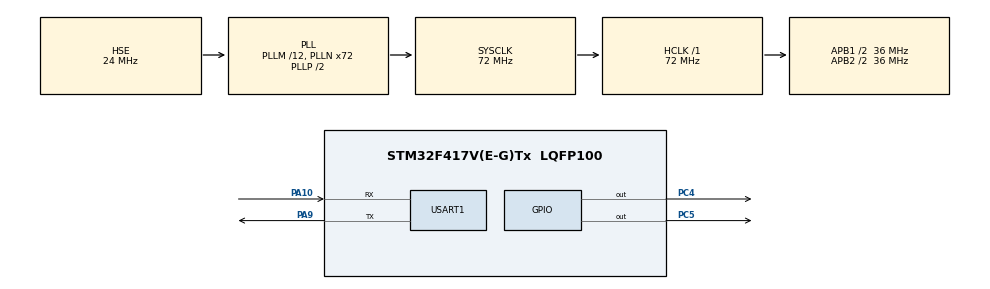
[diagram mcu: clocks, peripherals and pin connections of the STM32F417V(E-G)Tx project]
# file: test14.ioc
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FREERTOS.Tasks01=defaultTask,0,128,StartDefaultTask,Default,NULL,Dynamic,NULL,NULL;LED1,-3,128,LED1Task,Default,NULL,Dynamic,NULL,NULL;LED2,-3,128,LED2Task,Default,NULL,Dynamic,NULL,NULL;CPU,-3,256,CPUTask,Default,NULL,Dynamic,NULL,NULL
FREERTOS.configGENERATE_RUN_TIME_STATS=1
FREERTOS.configUSE_NEWLIB_REENTRANT=1
FREERTOS.configUSE_STATS_FORMATTING_FUNCTIONS=1
FREERTOS.configUSE_TRACE_FACILITY=1
Mcu.Family=STM32F4
Mcu.Name=STM32F417V(E-G)Tx
Mcu.Package=LQFP100
NVIC.PriorityGroup=NVIC_PRIORITYGROUP_4
NVIC.TIM1_UP_TIM10_IRQn=true\:15\:0\:false\:false\:true\:false\:false\:true\:true
NVIC.TIM6_DAC_IRQn=true\:5\:0\:false\:false\:true\:true\:true\:true\:true
NVIC.TimeBase=TIM1_UP_TIM10_IRQn
NVIC.TimeBaseIP=TIM1
NVIC.USART1_IRQn=true\:5\:0\:false\:false\:true\:true\:true\:true\:true
PA10.GPIO_ModeDefaultPP=GPIO_MODE_AF_PP
PA10.GPIO_PuPd=GPIO_PULLUP
PA10.GPIO_Speed=GPIO_SPEED_FREQ_HIGH
PA10.Mode=Asynchronous
PA10.Signal=USART1_RX
PA13.Mode=Trace_Synchro_2bits_SW
PA13.Signal=SYS_JTMS-SWDIO
PA14.Mode=Trace_Synchro_2bits_SW
PA14.Signal=SYS_JTCK-SWCLK
PA9.GPIO_ModeDefaultPP=GPIO_MODE_AF_PP
PA9.GPIO_PuPd=GPIO_PULLUP
PA9.GPIO_Speed=GPIO_SPEED_FREQ_HIGH
PA9.Mode=Asynchronous
PA9.Signal=USART1_TX
PC14-OSC32_IN.Mode=LSE-External-Oscillator
PC14-OSC32_IN.Signal=RCC_OSC32_IN
PC15-OSC32_OUT.Mode=LSE-External-Oscillator
PC15-OSC32_OUT.Signal=RCC_OSC32_OUT
PC4.GPIO_ModeDefaultOutputPP=GPIO_MODE_OUTPUT_PP
PC4.GPIO_PuPd=GPIO_PULLUP
PC4.GPIO_Speed=GPIO_SPEED_FREQ_HIGH
PC4.PinState=GPIO_PIN_RESET
PC4.Signal=GPIO_Output
PC5.GPIO_ModeDefaultOutputPP=GPIO_MODE_OUTPUT_PP
PC5.GPIO_PuPd=GPIO_PULLUP
PC5.GPIO_Speed=GPIO_SPEED_FREQ_HIGH
PC5.PinState=GPIO_PIN_RESET
PC5.Signal=GPIO_Output
PE2.Mode=Trace_Synchro_2bits_SW
PE2.Signal=SYS_TRACECLK
PE3.Mode=Trace_Synchro_2bits_SW
PE3.Signal=SYS_TRACED0
PE4.Mode=Trace_Synchro_2bits_SW
PE4.Signal=SYS_TRACED1
PH0-OSC_IN.Mode=HSE-External-Oscillator
PH0-OSC_IN.Signal=RCC_OSC_IN
PH1-OSC_OUT.Mode=HSE-External-Oscillator
PH1-OSC_OUT.Signal=RCC_OSC_OUT
ProjectManager.HeapSize=0x200
ProjectManager.StackSize=0x400
ProjectManager.TargetToolchain=STM32CubeIDE
RCC.48MHZClocksFreq_Value=36000000
RCC.AHBFreq_Value=72000000
RCC.APB1CLKDivider=RCC_HCLK_DIV2
RCC.APB1Freq_Value=36000000
RCC.APB1TimFreq_Value=72000000
RCC.APB2CLKDivider=RCC_HCLK_DIV2
RCC.APB2Freq_Value=36000000
RCC.APB2TimFreq_Value=72000000
RCC.CortexFreq_Value=72000000
RCC.HCLKFreq_Value=72000000
RCC.HSE_VALUE=24000000
RCC.HSI_VALUE=16000000
RCC.PLLM=12
RCC.PLLN=72
RCC.PLLSourceVirtual=RCC_PLLSOURCE_HSE
RCC.SYSCLKFreq_VALUE=72000000
RCC.SYSCLKSource=RCC_SYSCLKSOURCE_PLLCLK
RCC.VCOOutputFreq_Value=144000000
TIM6.AutoReloadPreload=TIM_AUTORELOAD_PRELOAD_ENABLE
TIM6.Period=50-1
TIM6.Prescaler=72-1
USART1.VirtualMode=VM_ASYNC
VP_FREERTOS_VS_CMSIS_V1.Mode=CMSIS_V1
VP_SYS_VS_tim1.Mode=TIM1
VP_TIM6_VS_ClockSourceINT.Mode=Enable_Timer
board=custom

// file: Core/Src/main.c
/* USER CODE BEGIN Header */
/**
  ******************************************************************************
  * @file           : main.c
  * @brief          : Main program body
  ******************************************************************************
  * @attention
  *
  * Copyright (c) 2022 STMicroelectronics.
  * All rights reserved.
  *
  * This software is licensed under terms that can be found in the LICENSE file
  * in the root directory of this software component.
  * If no LICENSE file comes with this software, it is provided AS-IS.
  *
  ******************************************************************************
  */
/* USER CODE END Header */
#include "main.h"
#include "cmsis_os.h"
#include "tim.h"
#include "usart.h"
#include "gpio.h"

/* USER CODE BEGIN Includes */
#include <stdio.h>		//引入标准库
#include <string.h>
/* USER CODE END Includes */

/* USER CODE BEGIN PV */
uint32_t g_osRuntimeCounter;
/* USER CODE END PV */

void SystemClock_Config(void);
void MX_FREERTOS_Init(void);
/* USER CODE BEGIN PFP */
#ifdef __GNUC__
#define PUTCHAR_PROTOTYPE int __io_putchar(int ch)   //STM32CubeIDE
#else

#define PUTCHAR_PROTOTYPE int fputc(int ch, FILE *f)  //Keil

#endif
PUTCHAR_PROTOTYPE
{
	HAL_UART_Transmit(&huart1, (uint8_t*)&ch, 1, HAL_MAX_DELAY);
	return ch;
}

int _write(int file, char *ptr, int len)
{
	int DataIdx;

	for(DataIdx=0; DataIdx<len; DataIdx++)
	{
		__io_putchar(*ptr++);
	}

	return len;
}
/* USER CODE END PFP */

int main(void)
{

  /* MCU Configuration--------------------------------------------------------*/

  /* Reset of all peripherals, Initializes the Flash interface and the Systick. */
  HAL_Init();

  /* Configure the system clock */
  SystemClock_Config();

  /* Initialize all configured peripherals */
  MX_GPIO_Init();
  MX_TIM6_Init();
  MX_USART1_UART_Init();
  /* USER CODE BEGIN 2 */
  HAL_TIM_Base_Start_IT(&htim6);    // 开启定时器中断
  /* USER CODE END 2 */

  /* Call init function for freertos objects (in freertos.c) */
  MX_FREERTOS_Init();

  /* Start scheduler */
  osKernelStart();

  /* We should never get here as control is now taken by the scheduler */
  /* Infinite loop */
  while (1)
  {

  }
}

void SystemClock_Config(void)
{
  RCC_OscInitTypeDef RCC_OscInitStruct = {0};
  RCC_ClkInitTypeDef RCC_ClkInitStruct = {0};

  /** Configure the main internal regulator output voltage
  */
  __HAL_RCC_PWR_CLK_ENABLE();
  __HAL_PWR_VOLTAGESCALING_CONFIG(PWR_REGULATOR_VOLTAGE_SCALE1);

  /** Initializes the RCC Oscillators according to the specified parameters
  * in the RCC_OscInitTypeDef structure.
  */
  RCC_OscInitStruct.OscillatorType = RCC_OSCILLATORTYPE_HSE;
  RCC_OscInitStruct.HSEState = RCC_HSE_ON;
  RCC_OscInitStruct.PLL.PLLState = RCC_PLL_ON;
  RCC_OscInitStruct.PLL.PLLSource = RCC_PLLSOURCE_HSE;
  RCC_OscInitStruct.PLL.PLLM = 12;
  RCC_OscInitStruct.PLL.PLLN = 72;
  RCC_OscInitStruct.PLL.PLLP = RCC_PLLP_DIV2;
  RCC_OscInitStruct.PLL.PLLQ = 4;
  if (HAL_RCC_OscConfig(&RCC_OscInitStruct) != HAL_OK)
  {
    Error_Handler();
  }

  /** Initializes the CPU, AHB and APB buses clocks
  */
  RCC_ClkInitStruct.ClockType = RCC_CLOCKTYPE_HCLK|RCC_CLOCKTYPE_SYSCLK
                              |RCC_CLOCKTYPE_PCLK1|RCC_CLOCKTYPE_PCLK2;
  RCC_ClkInitStruct.SYSCLKSource = RCC_SYSCLKSOURCE_PLLCLK;
  RCC_ClkInitStruct.AHBCLKDivider = RCC_SYSCLK_DIV1;
  RCC_ClkInitStruct.APB1CLKDivider = RCC_HCLK_DIV2;
  RCC_ClkInitStruct.APB2CLKDivider = RCC_HCLK_DIV2;

  if (HAL_RCC_ClockConfig(&RCC_ClkInitStruct, FLASH_LATENCY_2) != HAL_OK)
  {
    Error_Handler();
  }
}

void HAL_TIM_PeriodElapsedCallback(TIM_HandleTypeDef *htim)
{
  if (htim->Instance == TIM1) {
    HAL_IncTick();
  }
  /* USER CODE BEGIN Callback 1 */
  if(htim->Instance == TIM6)
  {
      g_osRuntimeCounter++;
  }
  /* USER CODE END Callback 1 */
}

void Error_Handler(void)
{
  __disable_irq();
  while (1)
  {
  }
}

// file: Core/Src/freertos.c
/* USER CODE BEGIN Header */
/**
  ******************************************************************************
  * File Name          : freertos.c
  * Description        : Code for freertos applications
  ******************************************************************************
  * @attention
  *
  * Copyright (c) 2022 STMicroelectronics.
  * All rights reserved.
  *
  * This software is licensed under terms that can be found in the LICENSE file
  * in the root directory of this software component.
  * If no LICENSE file comes with this software, it is provided AS-IS.
  *
  ******************************************************************************
  */
/* USER CODE END Header */

#include "FreeRTOS.h"
#include "task.h"
#include "main.h"
#include "cmsis_os.h"

/* USER CODE BEGIN Includes */
#include <stdio.h>
#include <string.h>
/* USER CODE END Includes */

osThreadId defaultTaskHandle;
osThreadId LED1Handle;
osThreadId LED2Handle;
osThreadId CPUHandle;

void StartDefaultTask(void const * argument);
void LED1Task(void const * argument);
void LED2Task(void const * argument);
void CPUTask(void const * argument);

void MX_FREERTOS_Init(void); /* (MISRA C 2004 rule 8.1) */

/* GetIdleTaskMemory prototype (linked to static allocation support) */
void vApplicationGetIdleTaskMemory( StaticTask_t **ppxIdleTaskTCBBuffer, StackType_t **ppxIdleTaskStackBuffer, uint32_t *pulIdleTaskStackSize );

/* Hook prototypes */
void configureTimerForRunTimeStats(void);
unsigned long getRunTimeCounterValue(void);

/* USER CODE BEGIN 1 */
/* Functions needed when configGENERATE_RUN_TIME_STATS is on */
__weak void configureTimerForRunTimeStats(void)
{

}

__weak unsigned long getRunTimeCounterValue(void)
{
return 0;
}
/* USER CODE END 1 */

/* USER CODE BEGIN GET_IDLE_TASK_MEMORY */
static StaticTask_t xIdleTaskTCBBuffer;
static StackType_t xIdleStack[configMINIMAL_STACK_SIZE];

void vApplicationGetIdleTaskMemory( StaticTask_t **ppxIdleTaskTCBBuffer, StackType_t **ppxIdleTaskStackBuffer, uint32_t *pulIdleTaskStackSize )
{
  *ppxIdleTaskTCBBuffer = &xIdleTaskTCBBuffer;
  *ppxIdleTaskStackBuffer = &xIdleStack[0];
  *pulIdleTaskStackSize = configMINIMAL_STACK_SIZE;
  /* place for user code */
}
/* USER CODE END GET_IDLE_TASK_MEMORY */

void MX_FREERTOS_Init(void) {

  /* Create the thread(s) */
  /* definition and creation of defaultTask */
  osThreadDef(defaultTask, StartDefaultTask, osPriorityNormal, 0, 128);
  defaultTaskHandle = osThreadCreate(osThread(defaultTask), NULL);

  /* definition and creation of LED1 */
  osThreadDef(LED1, LED1Task, osPriorityIdle, 0, 128);
  LED1Handle = osThreadCreate(osThread(LED1), NULL);

  /* definition and creation of LED2 */
  osThreadDef(LED2, LED2Task, osPriorityIdle, 0, 128);
  LED2Handle = osThreadCreate(osThread(LED2), NULL);

  /* definition and creation of CPU */
  osThreadDef(CPU, CPUTask, osPriorityIdle, 0, 256);
  CPUHandle = osThreadCreate(osThread(CPU), NULL);

}

void StartDefaultTask(void const * argument)
{
  for(;;)
  {
    osDelay(1);
  }
}

void LED1Task(void const * argument)
{
  /* USER CODE BEGIN LED1Task */
  /* Infinite loop */
  for(;;)
  {
	osDelay(500);   /* 延时500个tick */
	HAL_GPIO_WritePin(GPIOC, GPIO_PIN_4, GPIO_PIN_SET);
	printf("LED1_ON\r\n");
	osDelay(500);   /* 延时500个tick */
	HAL_GPIO_WritePin(GPIOC, GPIO_PIN_4, GPIO_PIN_RESET);
	printf("LED1_OFF\r\n");
  }
  /* USER CODE END LED1Task */
}

void LED2Task(void const * argument)
{
  /* USER CODE BEGIN LED2Task */
  /* Infinite loop */
  for(;;)
  {
	osDelay(300);   /* 延时300个tick */
	HAL_GPIO_WritePin(GPIOC, GPIO_PIN_5, GPIO_PIN_SET);
	printf("LED2_ON\r\n");
	osDelay(300);   /* 延时300个tick */
	HAL_GPIO_WritePin(GPIOC, GPIO_PIN_5, GPIO_PIN_RESET);
	printf("LED2_OFF\r\n");
  }
  /* USER CODE END LED2Task */
}

void CPUTask(void const * argument)
{
  /* USER CODE BEGIN CPUTask */
  uint8_t CPU_RunInfo[400];		//保存任务运行时间信息
  /* Infinite loop */
  for(;;)
  {
	memset(CPU_RunInfo, 0, 400);

	osThreadList(CPU_RunInfo);

    printf("---------------------------------------------\r\n");
    printf("Task      Task_Status Priority  Remaining_Stack Task_No\r\n");
    printf("%s", CPU_RunInfo);
    printf("---------------------------------------------\r\n");

    memset(CPU_RunInfo, 0, 400);

    vTaskGetRunTimeStats((char *)&CPU_RunInfo);

    printf("Task       Running_Count        Utilization\r\n");
    printf("%s", CPU_RunInfo);
    printf("---------------------------------------------\r\n\n");

    osDelay(1000);
  }
  /* USER CODE END CPUTask */
}
